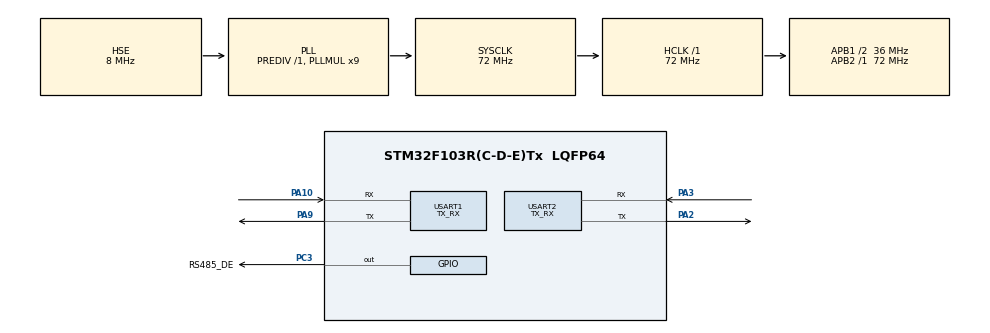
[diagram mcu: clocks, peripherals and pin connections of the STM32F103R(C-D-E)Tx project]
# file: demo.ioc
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Mcu.Family=STM32F1
Mcu.Name=STM32F103R(C-D-E)Tx
Mcu.Package=LQFP64
NVIC.PriorityGroup=NVIC_PRIORITYGROUP_4
NVIC.TIM7_IRQn=true\:2\:0\:true\:false\:true\:true\:true\:true
NVIC.USART1_IRQn=true\:1\:0\:true\:false\:true\:true\:true\:true
NVIC.USART2_IRQn=true\:1\:0\:true\:false\:true\:true\:true\:true
PA10.Mode=Asynchronous
PA10.Signal=USART1_RX
PA13.Mode=Serial_Wire
PA13.Signal=SYS_JTMS-SWDIO
PA14.Mode=Serial_Wire
PA14.Signal=SYS_JTCK-SWCLK
PA2.Mode=Asynchronous
PA2.Signal=USART2_TX
PA3.Mode=Asynchronous
PA3.Signal=USART2_RX
PA9.Mode=Asynchronous
PA9.Signal=USART1_TX
PC3.GPIO_Label=RS485_DE
PC3.Signal=GPIO_Output
PD0-OSC_IN.Mode=HSE-External-Oscillator
PD0-OSC_IN.Signal=RCC_OSC_IN
PD1-OSC_OUT.Mode=HSE-External-Oscillator
PD1-OSC_OUT.Signal=RCC_OSC_OUT
ProjectManager.HeapSize=0x200
ProjectManager.StackSize=0x400
ProjectManager.TargetToolchain=MDK-ARM V5
RCC.AHBFreq_Value=72000000
RCC.APB1CLKDivider=RCC_HCLK_DIV2
RCC.APB1Freq_Value=36000000
RCC.APB1TimFreq_Value=72000000
RCC.APB2Freq_Value=72000000
RCC.APB2TimFreq_Value=72000000
RCC.HCLKFreq_Value=72000000
RCC.PLLMUL=RCC_PLL_MUL9
RCC.PLLSourceVirtual=RCC_PLLSOURCE_HSE
RCC.SYSCLKFreq_VALUE=72000000
RCC.SYSCLKSource=RCC_SYSCLKSOURCE_PLLCLK
RCC.USBFreq_Value=72000000
TIM7.AutoReloadPreload=TIM_AUTORELOAD_PRELOAD_ENABLE
TIM7.Period=50
TIM7.Prescaler=3600-1
TIM7.TIM_MasterOutputTrigger=TIM_TRGO_RESET
USART1.Mode=MODE_TX_RX
USART1.VirtualMode=VM_ASYNC
USART2.Mode=MODE_TX_RX
USART2.VirtualMode=VM_ASYNC
VP_TIM7_VS_ClockSourceINT.Mode=Enable_Timer
board=custom

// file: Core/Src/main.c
/* USER CODE BEGIN Header */
/**
 ******************************************************************************
 * @file           : main.c
 * @brief          : Main program body
 ******************************************************************************
 * @attention
 *
 * <h2><center>&copy; Copyright (c) 2022 STMicroelectronics.
 * All rights reserved.</center></h2>
 *
 * This software component is licensed by ST under BSD 3-Clause license,
 * the "License"; You may not use this file except in compliance with the
 * License. You may obtain a copy of the License at:
 *                        opensource.org/licenses/BSD-3-Clause
 *
 ******************************************************************************
 */
/* USER CODE END Header */
#include "main.h"
#include "tim.h"
#include "usart.h"
#include "gpio.h"

/* USER CODE BEGIN Includes */
#include "mbslave.h"
#include <math.h> // for test
/* USER CODE END Includes */

void SystemClock_Config(void);

int main(void)
{

    /* MCU Configuration--------------------------------------------------------*/

    /* Reset of all peripherals, Initializes the Flash interface and the Systick. */
    HAL_Init();

    /* Configure the system clock */
    SystemClock_Config();

    /* Initialize all configured peripherals */
    MX_GPIO_Init();
    MX_USART1_UART_Init();
    MX_USART2_UART_Init();
    MX_TIM7_Init();
    /* USER CODE BEGIN 2 */

    // eMBInit(MB_RTU, 0x01, 2, 19200, MB_PAR_EVEN);
    eMBInit(MB_RTU, 0x0A, 2, 115200, MB_PAR_NONE);

    const UCHAR ucSlaveID[] = {0xAA, 0xBB, 0xCC};
    eMBSetSlaveID(0x33, FALSE, ucSlaveID, 3);

    // test data

    usRegInputBuf[0]   = 0x1234;
    usRegInputBuf[1]   = 0x2345;
    usRegInputBuf[2]   = 0x3456;
    usRegInputBuf[3]   = 0x4567;
    usRegInputBuf[4]   = 0x0000;
		usRegInputBuf[5]   = 0x0000;

    usRegHoldingBuf[0] = 0x0000;
    usRegHoldingBuf[1] = 0xFFFF;
    usRegHoldingBuf[2] = 0x0000;
    usRegHoldingBuf[3] = 0xFFFF;
    usRegHoldingBuf[4] = 0x0000;
    usRegHoldingBuf[5] = 0xFFFF;
    usRegHoldingBuf[6] = 0x0000;
    usRegHoldingBuf[7] = 0xFFFF;

    ucDiscInBuf[0]     = 0b11001100;
    ucDiscInBuf[1]     = 0b00110011;

    ucCoilBuf[0]       = 0b10101010;
    ucCoilBuf[1]       = 0b01010101;
    ucCoilBuf[2]       = 0b11001100;
    ucCoilBuf[3]       = 0b00110011;

    /* USER CODE END 2 */

    /* Infinite loop */
    /* USER CODE BEGIN WHILE */
    eMBEnable();
    while (1) {
        eMBPoll();
        /* USER CODE END WHILE */

    }
}

void SystemClock_Config(void)
{
    RCC_OscInitTypeDef RCC_OscInitStruct = {0};
    RCC_ClkInitTypeDef RCC_ClkInitStruct = {0};

    /** Initializes the RCC Oscillators according to the specified parameters
     * in the RCC_OscInitTypeDef structure.
     */
    RCC_OscInitStruct.OscillatorType     = RCC_OSCILLATORTYPE_HSE;
    RCC_OscInitStruct.HSEState           = RCC_HSE_ON;
    RCC_OscInitStruct.HSEPredivValue     = RCC_HSE_PREDIV_DIV1;
    RCC_OscInitStruct.HSIState           = RCC_HSI_ON;
    RCC_OscInitStruct.PLL.PLLState       = RCC_PLL_ON;
    RCC_OscInitStruct.PLL.PLLSource      = RCC_PLLSOURCE_HSE;
    RCC_OscInitStruct.PLL.PLLMUL         = RCC_PLL_MUL9;
    if (HAL_RCC_OscConfig(&RCC_OscInitStruct) != HAL_OK) {
        Error_Handler();
    }

    /** Initializes the CPU, AHB and APB buses clocks
     */
    RCC_ClkInitStruct.ClockType      = RCC_CLOCKTYPE_HCLK | RCC_CLOCKTYPE_SYSCLK | RCC_CLOCKTYPE_PCLK1 | RCC_CLOCKTYPE_PCLK2;
    RCC_ClkInitStruct.SYSCLKSource   = RCC_SYSCLKSOURCE_PLLCLK;
    RCC_ClkInitStruct.AHBCLKDivider  = RCC_SYSCLK_DIV1;
    RCC_ClkInitStruct.APB1CLKDivider = RCC_HCLK_DIV2;
    RCC_ClkInitStruct.APB2CLKDivider = RCC_HCLK_DIV1;

    if (HAL_RCC_ClockConfig(&RCC_ClkInitStruct, FLASH_LATENCY_2) != HAL_OK) {
        Error_Handler();
    }
}

/* USER CODE BEGIN 4 */

/**************************************************/

/* Create an ISR which is called whenever the timer has expired. This function
 * must then call pxMBPortCBTimerExpired( ) to notify the protocol stack that
 * the timer has expired.
 */

void HAL_TIM_PeriodElapsedCallback(TIM_HandleTypeDef* htim)
{
    if (htim->Instance == TIM7) {
        pxMBPortCBTimerExpired();

        // test data
        ++usRegInputBuf[4];
			  usRegInputBuf[5] = (cos((usRegInputBuf[4]%360)/57.3f) + 1)*1000;
    }
}

/** Create an interrupt handler for the transmit buffer empty interrupt
 * (or an equivalent) for your target processor. This function should then
 * call pxMBFrameCBTransmitterEmpty( ) which tells the protocol stack that
 * a new character can be sent. The protocol stack will then call xMBPortSerialPutByte( ) to send the character.
 */

void HAL_UART_TxCpltCallback(UART_HandleTypeDef* huart)
{
    if (huart->Instance == USART2) {
        pxMBFrameCBTransmitterEmpty();
    }
}

/* Create an interrupt handler for the receive interrupt for your target
 * processor. This function should then call pxMBFrameCBByteReceived( ). The
 * protocol stack will then call xMBPortSerialGetByte( ) to retrieve the character.
 */

void HAL_UART_RxCpltCallback(UART_HandleTypeDef* huart)
{
    if (huart->Instance == USART2) {
        pxMBFrameCBByteReceived();
    }
}

/* USER CODE END 4 */

void Error_Handler(void)
{
}
